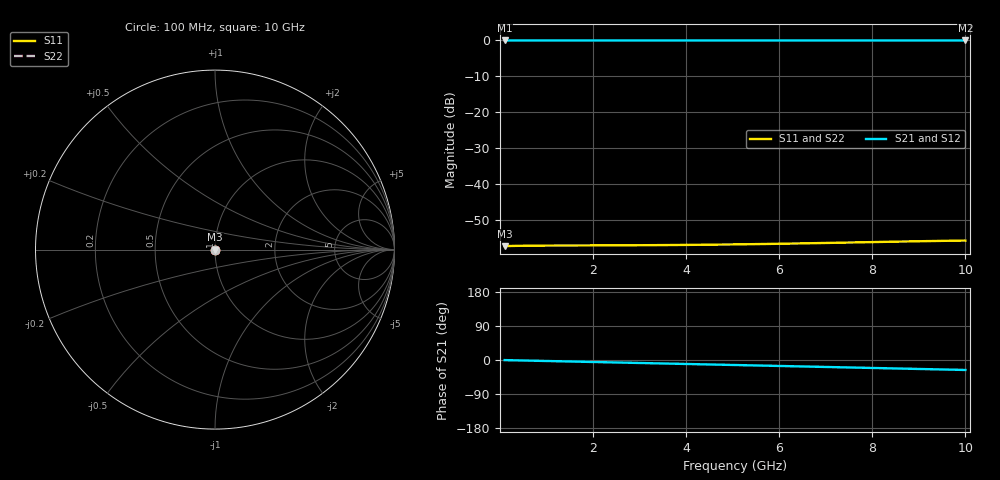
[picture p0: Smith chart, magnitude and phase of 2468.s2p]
# Hz S RI R 50.00
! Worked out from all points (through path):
!   100 points, 100 MHz to 10 GHz, reference 50 ohm
!   highest |S21| = -0.01 dB at 100 MHz (marker M1); lowest = 0.0 dB at 10 GHz (marker M2)
!   group delay of S21, straight-line fit = 7.3 ps
!   lowest |S11| = -57.4 dB at 100 MHz (marker M3), VSWR 1.00, Z = 50.1 - j0.00126 ohm
!   |S11| at or under -10 dB: start of sweep to end of sweep
!   |S22| runs from -57.4 to -55.9 dB; largest |S21 - S12| = 0
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1e8  0.00134 -1.25e-05  0.9986 -0.00456  0.9986 -0.00456  0.00134 -1.25e-05
2e8  0.00135 -2.51e-05  0.9986 -0.00911  0.9986 -0.00911  0.00135 -2.51e-05
3e8  0.00135 -3.78e-05  0.9985 -0.0137  0.9985 -0.0137  0.00135 -3.78e-05
4e8  0.00136 -5.06e-05  0.9985 -0.0182  0.9985 -0.0182  0.00136 -5.06e-05
6e8  0.00136 -7.64e-05  0.9982 -0.0273  0.9982 -0.0273  0.00136 -7.64e-05
8e8  0.00136 -0.000103  0.9979 -0.0364  0.9979 -0.0364  0.00136 -0.000103
1.1e9  0.00136 -0.000143  0.9973 -0.0501  0.9973 -0.0501  0.00136 -0.000143
1.8e9  0.00135 -0.000239  0.9952 -0.0819  0.9952 -0.0819  0.00135 -0.000239
2.6e9  0.00133 -0.000356  0.9915 -0.1183  0.9915 -0.1183  0.00133 -0.000356
3.4e9  0.0013 -0.000479  0.9865 -0.1544  0.9865 -0.1544  0.0013 -0.000479
3.9e9  0.00128 -0.000559  0.9827 -0.177  0.9827 -0.177  0.00128 -0.000559
4.3e9  0.00126 -0.000623  0.9792 -0.195  0.9792 -0.195  0.00126 -0.000623
4.7e9  0.00123 -0.000688  0.9755 -0.2129  0.9755 -0.2129  0.00123 -0.000688
5.1e9  0.00121 -0.000753  0.9714 -0.2307  0.9714 -0.2307  0.00121 -0.000753
5.9e9  0.00115 -0.000883  0.9622 -0.2662  0.9622 -0.2662  0.00115 -0.000883
6.7e9  0.00108 -0.00101  0.9518 -0.3014  0.9518 -0.3014  0.00108 -0.00101
7.5e9  0.001 -0.00113  0.94 -0.3363  0.94 -0.3363  0.001 -0.00113
7.9e9  0.000963 -0.00119  0.9336 -0.3535  0.9336 -0.3535  0.000963 -0.00119
8.4e9  0.000911 -0.00125  0.9252 -0.375  0.9252 -0.375  0.000911 -0.00125
8.8e9  0.000868 -0.0013  0.9181 -0.392  0.9181 -0.392  0.000868 -0.0013
9.3e9  0.000813 -0.00136  0.9088 -0.4131  0.9088 -0.4131  0.000813 -0.00136
1e10  0.000737 -0.00143  0.8949 -0.4423  0.8949 -0.4423  0.000737 -0.00143
